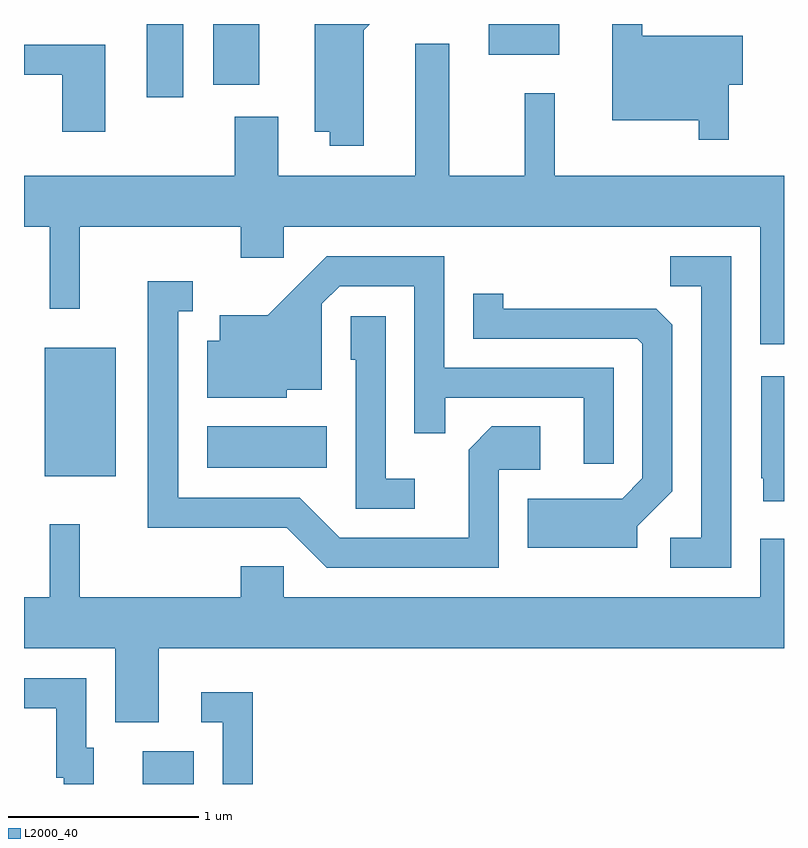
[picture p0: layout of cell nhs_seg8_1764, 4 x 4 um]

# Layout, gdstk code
import gdstk
lib = gdstk.Library(unit=1e-6, precision=1e-09)
def R(c, l, rs):  # rectangles x0, y0, x1, y1
    for r in rs: c.add(gdstk.rectangle(r[:2], r[2:], *l))
def P(c, l, *ps):  # polygons
    for p in ps: c.add(gdstk.Polygon(p, *l))
L2000_40 = (2000, 40)

nhs_seg8_1764 = lib.new_cell('nhs_seg8_1764')
R(nhs_seg8_1764, L2000_40, [(238.236,1862.342,238.504,1862.514), (237.721,1863.961,238.094,1864.639), (238.576,1864.006,239.204,1864.224), (238.256,1865.956,238.449,1866.342), (238.606,1866.021,238.849,1866.342), (240.056,1866.181,240.429,1866.342)])
P(nhs_seg8_1764, L2000_40, [(239.399,1866.309),(239.432,1866.342),(239.141,1866.342),(239.141,1865.776),(239.221,1865.776),(239.221,1865.701),(239.399,1865.701)],
  [(241.319,1866.021),(241.394,1866.021),(241.394,1866.279),(240.864,1866.279),(240.864,1866.342),(240.706,1866.342),(240.706,1865.836),(241.161,1865.836),(241.161,1865.733),(241.319,1865.733)],
  [(241.611,1865.544),(240.404,1865.544),(240.404,1865.978),(240.246,1865.978),(240.246,1865.544),(239.849,1865.544),(239.849,1866.239),(239.671,1866.239),(239.671,1865.544),(238.949,1865.544),(238.949,1865.854),(238.721,1865.854),(238.721,1865.544),(237.611,1865.544),(237.611,1865.276),(237.746,1865.276),(237.746,1864.843),(237.904,1864.843),(237.904,1865.276),(238.751,1865.276),(238.751,1865.111),(238.979,1865.111),(238.979,1865.276),(241.486,1865.276),(241.486,1864.656),(241.611,1864.656)],
  [(238.039,1866.234),(237.611,1866.234),(237.611,1866.076),(237.811,1866.076),(237.811,1865.776),(238.039,1865.776)],
  [(241.334,1865.119),(241.013,1865.119),(241.013,1864.961),(241.176,1864.961),(241.176,1863.639),(241.013,1863.639),(241.013,1863.481),(241.334,1863.481)],
  [(240.714,1864.534),(239.824,1864.534),(239.824,1865.119),(239.204,1865.119),(238.894,1864.809),(238.641,1864.809),(238.641,1864.674),(238.576,1864.674),(238.576,1864.376),(238.994,1864.376),(238.994,1864.416),(239.179,1864.416),(239.179,1864.869),(239.272,1864.961),(239.666,1864.961),(239.666,1864.188),(239.829,1864.188),(239.829,1864.376),(240.556,1864.376),(240.556,1864.028),(240.714,1864.028)],
  [(240.109,1863.996),(240.329,1863.996),(240.329,1864.224),(240.074,1864.224),(239.951,1864.102),(239.951,1863.639),(239.272,1863.639),(239.062,1863.849),(238.424,1863.849),(238.424,1864.831),(238.498,1864.831),(238.498,1864.989),(238.261,1864.989),(238.261,1863.691),(238.994,1863.691),(239.204,1863.481),(240.109,1863.481)],
  [(240.839,1863.699),(241.024,1863.884),(241.024,1864.759),(240.939,1864.844),(240.134,1864.844),(240.134,1864.923),(239.976,1864.923),(239.976,1864.686),(240.839,1864.686),(240.866,1864.659),(240.866,1863.952),(240.759,1863.844),(240.261,1863.844),(240.261,1863.586),(240.839,1863.586)],
  [(239.668,1863.949),(239.514,1863.949),(239.514,1864.804),(239.331,1864.804),(239.331,1864.576),(239.356,1864.576),(239.356,1863.791),(239.668,1863.791)],
  [(241.611,1864.489),(241.491,1864.489),(241.491,1863.95),(241.501,1863.95),(241.501,1863.831),(241.611,1863.831)],
  [(238.319,1863.056),(241.611,1863.056),(241.611,1863.634),(241.486,1863.634),(241.486,1863.324),(238.979,1863.324),(238.979,1863.489),(238.751,1863.489),(238.751,1863.324),(237.904,1863.324),(237.904,1863.708),(237.746,1863.708),(237.746,1863.324),(237.611,1863.324),(237.611,1863.056),(238.091,1863.056),(238.091,1862.666),(238.319,1862.666)],
  [(237.979,1862.534),(237.939,1862.534),(237.939,1862.899),(237.611,1862.899),(237.611,1862.741),(237.781,1862.741),(237.781,1862.376),(237.821,1862.376),(237.821,1862.342),(237.979,1862.342)],
  [(238.814,1862.824),(238.543,1862.824),(238.543,1862.666),(238.656,1862.666),(238.656,1862.342),(238.814,1862.342)])

lib.write_gds('nhs_seg8_1764.gds')
